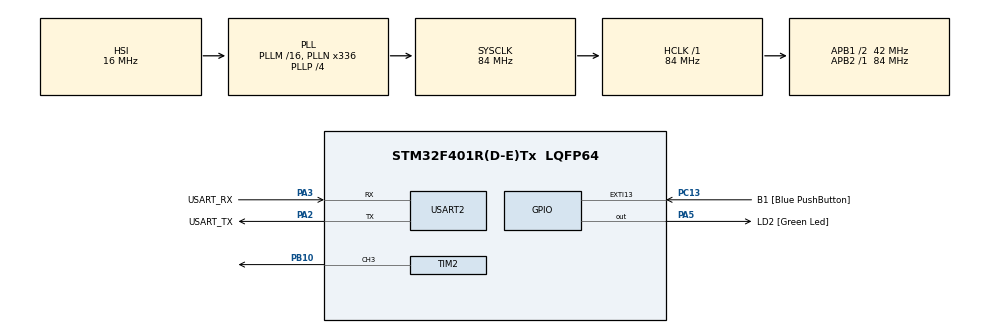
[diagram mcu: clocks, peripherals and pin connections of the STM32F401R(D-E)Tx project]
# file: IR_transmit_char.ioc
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Mcu.Family=STM32F4
Mcu.Name=STM32F401R(D-E)Tx
Mcu.Package=LQFP64
NVIC.PriorityGroup=NVIC_PRIORITYGROUP_4
NVIC.TIM2_IRQn=true\:0\:0\:false\:false\:true\:true\:true\:true
NVIC.TIM3_IRQn=true\:0\:0\:false\:false\:true\:true\:true\:true
PA13.GPIO_Label=TMS
PA13.Mode=Trace_Asynchronous_SW
PA13.Signal=SYS_JTMS-SWDIO
PA14.GPIO_Label=TCK
PA14.Mode=Trace_Asynchronous_SW
PA14.Signal=SYS_JTCK-SWCLK
PA2.GPIO_Label=USART_TX
PA2.GPIO_Mode=GPIO_MODE_AF_PP
PA2.GPIO_PuPd=GPIO_NOPULL
PA2.GPIO_Speed=GPIO_SPEED_FREQ_LOW
PA2.Mode=Asynchronous
PA2.Signal=USART2_TX
PA3.GPIO_Label=USART_RX
PA3.GPIO_Mode=GPIO_MODE_AF_PP
PA3.GPIO_PuPd=GPIO_NOPULL
PA3.GPIO_Speed=GPIO_SPEED_FREQ_LOW
PA3.Mode=Asynchronous
PA3.Signal=USART2_RX
PA5.GPIO_Label=LD2 [Green Led]
PA5.GPIO_Mode=GPIO_MODE_OUTPUT_PP
PA5.GPIO_PuPd=GPIO_NOPULL
PA5.GPIO_Speed=GPIO_SPEED_FREQ_LOW
PA5.Signal=GPIO_Output
PB10.Signal=S_TIM2_CH3
PB3.GPIO_Label=SWO
PB3.Mode=Trace_Asynchronous_SW
PB3.Signal=SYS_JTDO-SWO
PC13-ANTI_TAMP.GPIO_Label=B1 [Blue PushButton]
PC13-ANTI_TAMP.GPIO_ModeDefaultEXTI=GPIO_MODE_IT_FALLING
PC13-ANTI_TAMP.GPIO_PuPd=GPIO_NOPULL
PC13-ANTI_TAMP.Signal=GPXTI13
PC14-OSC32_IN.Mode=LSE-External-Oscillator
PC14-OSC32_IN.Signal=RCC_OSC32_IN
PC15-OSC32_OUT.Mode=LSE-External-Oscillator
PC15-OSC32_OUT.Signal=RCC_OSC32_OUT
PH0\ -\ OSC_IN.Mode=HSE-External-Clock-Source
PH0\ -\ OSC_IN.Signal=RCC_OSC_IN
PH1\ -\ OSC_OUT.Mode=HSE-External-Clock-Source
PH1\ -\ OSC_OUT.Signal=RCC_OSC_OUT
ProjectManager.HeapSize=0x200
ProjectManager.StackSize=0x400
ProjectManager.TargetToolchain=STM32CubeIDE
RCC.48MHZClocksFreq_Value=48000000
RCC.AHBFreq_Value=84000000
RCC.APB1CLKDivider=RCC_HCLK_DIV2
RCC.APB1Freq_Value=42000000
RCC.APB1TimFreq_Value=84000000
RCC.APB2Freq_Value=84000000
RCC.APB2TimFreq_Value=84000000
RCC.CortexFreq_Value=84000000
RCC.HCLKFreq_Value=84000000
RCC.HSE_VALUE=8000000
RCC.HSI_VALUE=16000000
RCC.PLLN=336
RCC.PLLP=RCC_PLLP_DIV4
RCC.PLLQ=7
RCC.SYSCLKFreq_VALUE=84000000
RCC.SYSCLKSource=RCC_SYSCLKSOURCE_PLLCLK
RCC.VCOOutputFreq_Value=336000000
SH.S_TIM2_CH3.0=TIM2_CH3,PWM Generation3 CH3
TIM2.Channel-PWM\ Generation3\ CH3=TIM_CHANNEL_3
TIM2.Period=2211 - 1
TIM2.Pulse-PWM\ Generation3\ CH3=1105
TIM3.Period=1000 -1
TIM3.Prescaler=35 - 1
USART2.VirtualMode=VM_ASYNC
VP_TIM2_VS_ClockSourceINT.Mode=Internal
VP_TIM3_VS_ClockSourceINT.Mode=Internal
board=NUCLEO-F401RE

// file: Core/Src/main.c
/* USER CODE BEGIN Header */
/**
  ******************************************************************************
  * @file           : main.c
  * @brief          : Main program body
  ******************************************************************************
  * @attention
  *
  * Copyright (c) 2025 STMicroelectronics.
  * All rights reserved.
  *
  * This software is licensed under terms that can be found in the LICENSE file
  * in the root directory of this software component.
  * If no LICENSE file comes with this software, it is provided AS-IS.
  *
  ******************************************************************************
  */
/* USER CODE END Header */
#include "main.h"

/* USER CODE BEGIN Includes */
#include <string.h>
/* USER CODE END Includes */

TIM_HandleTypeDef htim2;
TIM_HandleTypeDef htim3;

UART_HandleTypeDef huart2;

/* USER CODE BEGIN PV */

volatile uint8_t sending=0, count_bit=0, pwm_enabled=0, stop_interrupt=0;
//uint8_t one_byte= 0b00000001; //1
//uint8_t zero_byte= 0b00000000; //0
char string[20]="Bella braaanx";
volatile uint8_t indice=0;
uint8_t finestring=0;

/* USER CODE END PV */

void SystemClock_Config(void);
static void MX_GPIO_Init(void);
static void MX_USART2_UART_Init(void);
static void MX_TIM2_Init(void);
static void MX_TIM3_Init(void);

/* USER CODE BEGIN 0 */
void HAL_TIM_PeriodElapsedCallback(TIM_HandleTypeDef *htim){
	if(htim->Instance==TIM3){
		if(!stop_interrupt){
			if(sending==0){	//prima accensione pwm
				HAL_TIM_PWM_Start(&htim2, TIM_CHANNEL_3);
				pwm_enabled=1;
				sending=1;
			}else if(sending==1){		//invio effettivo dei bit
				if(count_bit<=7){
					uint8_t bit = (string[indice] >> count_bit) & 0x01;
					if( bit==0 && pwm_enabled==0){ //bit=0 accendo pwm. la accendo solo se non era già accesa
						HAL_TIM_PWM_Start(&htim2, TIM_CHANNEL_3);
						pwm_enabled=1;
					}else if(bit==1 && pwm_enabled==1){ //bit=1 spengo pwm, la spengo solo se non era già accesa
						HAL_TIM_PWM_Stop(&htim2, TIM_CHANNEL_3);
						pwm_enabled=0;
					}
				}else if(pwm_enabled==1){
					HAL_TIM_PWM_Stop(&htim2, TIM_CHANNEL_3);
					pwm_enabled=0;
				}
				count_bit++;
			}

			if(count_bit>8){
				count_bit=0;
				sending=0;
//				if(pwm_enabled==1){
//					HAL_TIM_PWM_Stop(&htim2, TIM_CHANNEL_3);
//				}
				indice++;
				if(indice>strlen(string)-1){
					if(pwm_enabled == 1){
						HAL_TIM_PWM_Stop(&htim2, TIM_CHANNEL_3);
						pwm_enabled = 0;
					}
					pwm_enabled = 0;
					indice=0;

					stop_interrupt=1;
					HAL_TIM_Base_Stop_IT(&htim3);
				}
			}
		}
	}
}

/* USER CODE END 0 */

int main(void)
{

  /* MCU Configuration--------------------------------------------------------*/

  /* Reset of all peripherals, Initializes the Flash interface and the Systick. */
  HAL_Init();

  /* Configure the system clock */
  SystemClock_Config();

  /* Initialize all configured peripherals */
  MX_GPIO_Init();
  MX_USART2_UART_Init();
  MX_TIM2_Init();
  MX_TIM3_Init();
  /* USER CODE BEGIN 2 */
  HAL_TIM_PWM_Init(&htim2);
  HAL_TIM_Base_Start_IT(&htim3);
  /* USER CODE END 2 */

  /* Infinite loop */
  while (1)
  {

  }
}

void SystemClock_Config(void)
{
  RCC_OscInitTypeDef RCC_OscInitStruct = {0};
  RCC_ClkInitTypeDef RCC_ClkInitStruct = {0};

  /** Configure the main internal regulator output voltage
  */
  __HAL_RCC_PWR_CLK_ENABLE();
  __HAL_PWR_VOLTAGESCALING_CONFIG(PWR_REGULATOR_VOLTAGE_SCALE2);

  /** Initializes the RCC Oscillators according to the specified parameters
  * in the RCC_OscInitTypeDef structure.
  */
  RCC_OscInitStruct.OscillatorType = RCC_OSCILLATORTYPE_HSI;
  RCC_OscInitStruct.HSIState = RCC_HSI_ON;
  RCC_OscInitStruct.HSICalibrationValue = RCC_HSICALIBRATION_DEFAULT;
  RCC_OscInitStruct.PLL.PLLState = RCC_PLL_ON;
  RCC_OscInitStruct.PLL.PLLSource = RCC_PLLSOURCE_HSI;
  RCC_OscInitStruct.PLL.PLLM = 16;
  RCC_OscInitStruct.PLL.PLLN = 336;
  RCC_OscInitStruct.PLL.PLLP = RCC_PLLP_DIV4;
  RCC_OscInitStruct.PLL.PLLQ = 7;
  if (HAL_RCC_OscConfig(&RCC_OscInitStruct) != HAL_OK)
  {
    Error_Handler();
  }

  /** Initializes the CPU, AHB and APB buses clocks
  */
  RCC_ClkInitStruct.ClockType = RCC_CLOCKTYPE_HCLK|RCC_CLOCKTYPE_SYSCLK
                              |RCC_CLOCKTYPE_PCLK1|RCC_CLOCKTYPE_PCLK2;
  RCC_ClkInitStruct.SYSCLKSource = RCC_SYSCLKSOURCE_PLLCLK;
  RCC_ClkInitStruct.AHBCLKDivider = RCC_SYSCLK_DIV1;
  RCC_ClkInitStruct.APB1CLKDivider = RCC_HCLK_DIV2;
  RCC_ClkInitStruct.APB2CLKDivider = RCC_HCLK_DIV1;

  if (HAL_RCC_ClockConfig(&RCC_ClkInitStruct, FLASH_LATENCY_2) != HAL_OK)
  {
    Error_Handler();
  }
}

static void MX_TIM2_Init(void)
{

  TIM_ClockConfigTypeDef sClockSourceConfig = {0};
  TIM_MasterConfigTypeDef sMasterConfig = {0};
  TIM_OC_InitTypeDef sConfigOC = {0};

  htim2.Instance = TIM2;
  htim2.Init.Prescaler = 0;
  htim2.Init.CounterMode = TIM_COUNTERMODE_UP;
  htim2.Init.Period = 2211 - 1;
  htim2.Init.ClockDivision = TIM_CLOCKDIVISION_DIV1;
  htim2.Init.AutoReloadPreload = TIM_AUTORELOAD_PRELOAD_DISABLE;
  if (HAL_TIM_Base_Init(&htim2) != HAL_OK)
  {
    Error_Handler();
  }
  sClockSourceConfig.ClockSource = TIM_CLOCKSOURCE_INTERNAL;
  if (HAL_TIM_ConfigClockSource(&htim2, &sClockSourceConfig) != HAL_OK)
  {
    Error_Handler();
  }
  if (HAL_TIM_PWM_Init(&htim2) != HAL_OK)
  {
    Error_Handler();
  }
  sMasterConfig.MasterOutputTrigger = TIM_TRGO_RESET;
  sMasterConfig.MasterSlaveMode = TIM_MASTERSLAVEMODE_DISABLE;
  if (HAL_TIMEx_MasterConfigSynchronization(&htim2, &sMasterConfig) != HAL_OK)
  {
    Error_Handler();
  }
  sConfigOC.OCMode = TIM_OCMODE_PWM1;
  sConfigOC.Pulse = 1105;
  sConfigOC.OCPolarity = TIM_OCPOLARITY_HIGH;
  sConfigOC.OCFastMode = TIM_OCFAST_DISABLE;
  if (HAL_TIM_PWM_ConfigChannel(&htim2, &sConfigOC, TIM_CHANNEL_3) != HAL_OK)
  {
    Error_Handler();
  }
  HAL_TIM_MspPostInit(&htim2);

}

static void MX_TIM3_Init(void)
{

  TIM_ClockConfigTypeDef sClockSourceConfig = {0};
  TIM_MasterConfigTypeDef sMasterConfig = {0};

  htim3.Instance = TIM3;
  htim3.Init.Prescaler = 35 - 1;
  htim3.Init.CounterMode = TIM_COUNTERMODE_UP;
  htim3.Init.Period = 1000 -1;
  htim3.Init.ClockDivision = TIM_CLOCKDIVISION_DIV1;
  htim3.Init.AutoReloadPreload = TIM_AUTORELOAD_PRELOAD_DISABLE;
  if (HAL_TIM_Base_Init(&htim3) != HAL_OK)
  {
    Error_Handler();
  }
  sClockSourceConfig.ClockSource = TIM_CLOCKSOURCE_INTERNAL;
  if (HAL_TIM_ConfigClockSource(&htim3, &sClockSourceConfig) != HAL_OK)
  {
    Error_Handler();
  }
  sMasterConfig.MasterOutputTrigger = TIM_TRGO_RESET;
  sMasterConfig.MasterSlaveMode = TIM_MASTERSLAVEMODE_DISABLE;
  if (HAL_TIMEx_MasterConfigSynchronization(&htim3, &sMasterConfig) != HAL_OK)
  {
    Error_Handler();
  }

}

static void MX_USART2_UART_Init(void)
{

  huart2.Instance = USART2;
  huart2.Init.BaudRate = 115200;
  huart2.Init.WordLength = UART_WORDLENGTH_8B;
  huart2.Init.StopBits = UART_STOPBITS_1;
  huart2.Init.Parity = UART_PARITY_NONE;
  huart2.Init.Mode = UART_MODE_TX_RX;
  huart2.Init.HwFlowCtl = UART_HWCONTROL_NONE;
  huart2.Init.OverSampling = UART_OVERSAMPLING_16;
  if (HAL_UART_Init(&huart2) != HAL_OK)
  {
    Error_Handler();
  }

}

static void MX_GPIO_Init(void)
{
  GPIO_InitTypeDef GPIO_InitStruct = {0};

  /* GPIO Ports Clock Enable */
  __HAL_RCC_GPIOC_CLK_ENABLE();
  __HAL_RCC_GPIOH_CLK_ENABLE();
  __HAL_RCC_GPIOA_CLK_ENABLE();
  __HAL_RCC_GPIOB_CLK_ENABLE();

  /*Configure GPIO pin Output Level */
  HAL_GPIO_WritePin(LD2_GPIO_Port, LD2_Pin, GPIO_PIN_RESET);

  /*Configure GPIO pin : B1_Pin */
  GPIO_InitStruct.Pin = B1_Pin;
  GPIO_InitStruct.Mode = GPIO_MODE_IT_FALLING;
  GPIO_InitStruct.Pull = GPIO_NOPULL;
  HAL_GPIO_Init(B1_GPIO_Port, &GPIO_InitStruct);

  /*Configure GPIO pin : LD2_Pin */
  GPIO_InitStruct.Pin = LD2_Pin;
  GPIO_InitStruct.Mode = GPIO_MODE_OUTPUT_PP;
  GPIO_InitStruct.Pull = GPIO_NOPULL;
  GPIO_InitStruct.Speed = GPIO_SPEED_FREQ_LOW;
  HAL_GPIO_Init(LD2_GPIO_Port, &GPIO_InitStruct);

}

void Error_Handler(void)
{
  __disable_irq();
  while (1)
  {
  }
}
